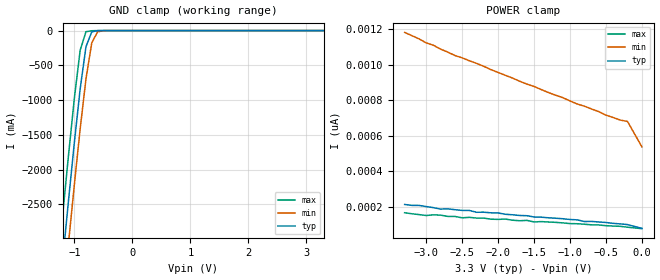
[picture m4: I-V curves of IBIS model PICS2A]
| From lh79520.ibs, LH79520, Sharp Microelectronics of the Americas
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[Model]   PICS2A
Model_type Input
Vinh=2.0
Vinl=0.8
C_comp   3.0pF   3.0pF   3.0pF
[Model Spec]
[Temperature Range] 25   85   -40
[Voltage Range]   3.3   3.0   3.6
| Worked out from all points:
|   GND clamp passes 1 mA (typ) near -0.59 V on its own axis
[GND Clamp]
-3.3V     -22.33A    -22.9A     -21.74A
-1.3V     -4.165A    -4.777A    -3.514A
-1.2V     -3.293A    -3.906A    -2.639A
-1.1V     -2.437A    -3.049A    -1.785A
-1V       -1.608A    -2.213A    -971.6mA
-900mV    -838.5mA   -1.415A    -282.7mA
-800mV    -231.2mA   -694.6mA   -16.39mA
-700mV    -18.3mA    -177.3mA   -2.444mA
-600mV    -1.112mA   -18.02mA   -425.1uA
-400mV    -3.806uA   -62.61uA   -948.1nA
3.3V      77.24pA    688.3pA    68.99pA
[POWER Clamp]
-3.3V     212pA      1.182nA    165.3pA
-3V       200.1pA    1.123nA    149.7pA
-2.8V     186pA      1.087nA    151.9pA
-2.6V     182.5pA    1.051nA    144.4pA
-2.5V     178.4pA    1.038nA    136.6pA
-1.9V     156.8pA    940pA      129.7pA
-1.7V     149.8pA    906.4pA    120.2pA
-1.6V     148.7pA    890.4pA    122.2pA
-1.5V     141.3pA    877.1pA    113.4pA
-500mV    110.4pA    715.4pA    92.28pA
-200mV    98.52pA    679.7pA    83.77pA
0V        77.14pA    536.7pA    75.58pA
